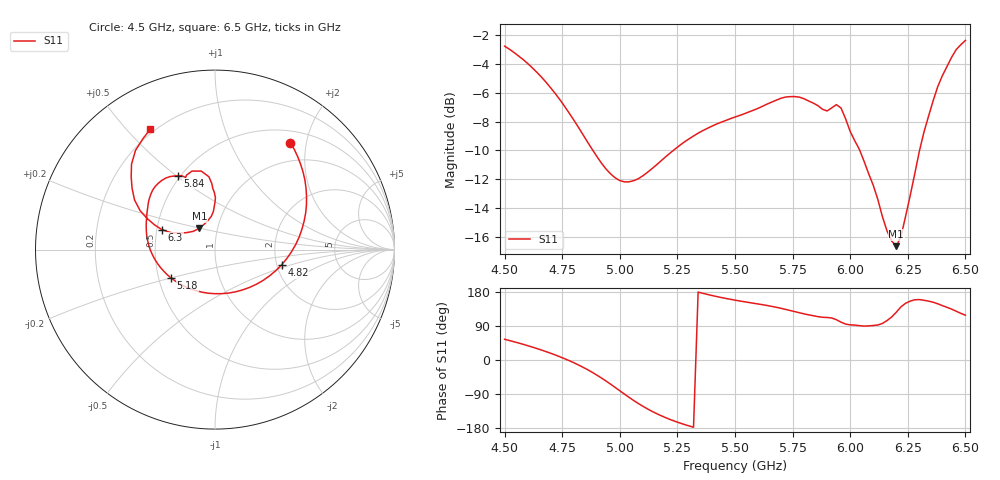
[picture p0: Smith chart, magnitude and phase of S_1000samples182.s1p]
! TOUCHSTONE file generated by CST MICROWAVE STUDIO
! Date and time: Thu Oct 27 07:06:29 2022
! Project name: L.cst
! Parameters = {Di=1.27; Epsilon_r=1.56; InnerDiameter=1.27; Length=2; Lf=10; Lg=60; OuterConductorThickness=0.2921; OuterDiameter=3.6; Wf=3; Wp=41.2; de=1.5; df=6.8; g=0.8; gx=3.64814; gy=1.58009; h=2.34; hf=1.524; px=14.978; py=8.29469; w=9.7; wx=11.3299; wy=6.7146}
! Header version: 2018
! Port assignment regex: !\s*Touchstone port\s*([0-9]+)\s*=\s*(CST MWS port|CST DS port)\s*([0-9]+|Zmin|Zmax)\s*\(\"(.*)\"\)(\s*mode\s*([0-9]+))?.*
! Touchstone port assignment:
! Touchstone port 1 = CST MWS port 1 ("")
# GHz S DB R 50
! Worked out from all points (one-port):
!   101 points, 4.5 GHz to 6.5 GHz, reference 50 ohm
!   lowest |S11| = -16.7 dB at 6.2 GHz (marker M1), VSWR 1.34, Z = 41 + j9.95 ohm
!   |S11| at or under -10 dB: 4.883 GHz to 5.233 GHz (349.7 MHz wide, 6.91 % of centre); 6.042 GHz to 6.301 GHz (259.5 MHz wide, 4.2 % of centre)
!   S11 on the Smith chart (normalised r, x): 4.5 GHz: 0.68, +1.72; 4.82 GHz: 2.12, -0.42; 5.18 GHz: 0.58, -0.20; 5.84 GHz: 0.48, +0.51; 6.3 GHz: 0.53, +0.13; 6.5 GHz: 0.18, +0.58
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4.5  -2.76 54.7
4.58  -3.68 41.5
4.64  -4.57 30.3
4.76  -6.93 3.5
4.82  -8.39 -12.9
4.9  -10.41 -39.7
5  -12.10 -81.2
5.08  -11.97 -114.6
5.18  -10.71 -147.2
5.26  -9.65 -166.1
5.36  -8.63 176.0
5.5  -7.68 157.9
5.66  -6.64 141.4
5.76  -6.26 127.6
5.84  -6.71 116.8
5.92  -7.04 110.8
5.96  -7.05 99.9
6  -8.69 92.7
6.12  -13.42 92.4
6.16  -15.61 104.1
6.2  -16.66 126.0
6.22  -16.01 140.1
6.26  -13.17 155.2
6.3  -10.07 159.5
6.36  -6.55 152.5
6.4  -4.81 143.5
6.44  -3.53 134.3
6.5  -2.36 118.2
